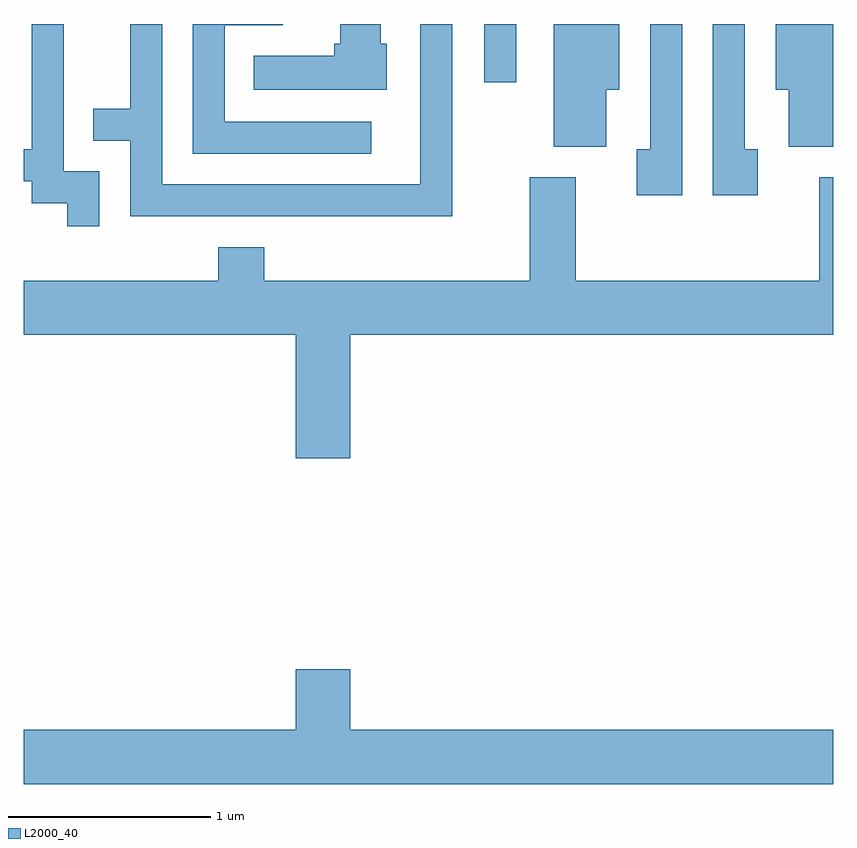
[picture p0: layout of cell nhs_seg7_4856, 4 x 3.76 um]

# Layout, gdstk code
import gdstk
lib = gdstk.Library(unit=1e-6, precision=1e-09)
def R(c, l, rs):  # rectangles x0, y0, x1, y1
    for r in rs: c.add(gdstk.rectangle(r[:2], r[2:], *l))
def P(c, l, *ps):  # polygons
    for p in ps: c.add(gdstk.Polygon(p, *l))
L2000_40 = (2000, 40)

nhs_seg7_4856 = lib.new_cell('nhs_seg7_4856')
R(nhs_seg7_4856, L2000_40, [(335.886,1759.963,336.044,1760.252)])
P(nhs_seg7_4856, L2000_40, [(337.239,1759.634),(337.174,1759.634),(337.174,1760.252),(337.016,1760.252),(337.016,1759.406),(337.239,1759.406)],
  [(335.328,1759.769),(334.604,1759.769),(334.604,1760.246),(334.887,1760.246),(334.893,1760.252),(334.446,1760.252),(334.446,1759.611),(335.328,1759.611)],
  [(336.864,1760.252),(336.706,1760.252),(336.706,1759.634),(336.641,1759.634),(336.641,1759.406),(336.864,1759.406)],
  [(333.984,1759.524),(333.809,1759.524),(333.809,1760.252),(333.651,1760.252),(333.651,1759.634),(333.611,1759.634),(333.611,1759.476),(333.651,1759.476),(333.651,1759.366),(333.826,1759.366),(333.826,1759.253),(333.984,1759.253)],
  [(337.611,1760.252),(337.326,1760.252),(337.326,1759.926),(337.391,1759.926),(337.391,1759.646),(337.611,1759.646)],
  [(336.489,1759.926),(336.554,1759.926),(336.554,1760.252),(336.231,1760.252),(336.231,1759.646),(336.489,1759.646)],
  [(335.404,1760.154),(335.374,1760.154),(335.374,1760.252),(335.176,1760.252),(335.176,1760.154),(335.146,1760.154),(335.146,1760.094),(334.748,1760.094),(334.748,1759.926),(335.404,1759.926)],
  [(335.729,1760.252),(335.571,1760.252),(335.571,1759.459),(334.294,1759.459),(334.294,1760.252),(334.136,1760.252),(334.136,1759.834),(333.953,1759.834),(333.953,1759.676),(334.136,1759.676),(334.136,1759.301),(335.729,1759.301)],
  [(335.224,1758.716),(337.611,1758.716),(337.611,1759.494),(337.541,1759.494),(337.541,1758.984),(336.339,1758.984),(336.339,1759.494),(336.111,1759.494),(336.111,1758.984),(334.799,1758.984),(334.799,1759.149),(334.571,1759.149),(334.571,1758.984),(333.611,1758.984),(333.611,1758.716),(334.956,1758.716),(334.956,1758.106),(335.224,1758.106)],
  [(337.611,1756.764),(335.224,1756.764),(335.224,1757.064),(334.956,1757.064),(334.956,1756.764),(333.611,1756.764),(333.611,1756.496),(337.611,1756.496)])

lib.write_gds('nhs_seg7_4856.gds')
